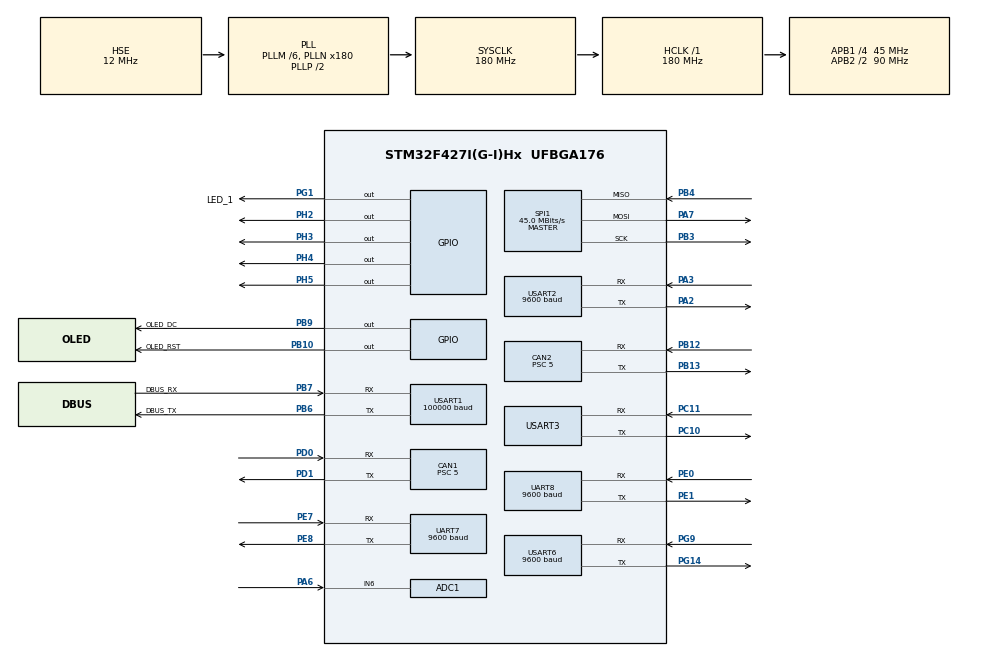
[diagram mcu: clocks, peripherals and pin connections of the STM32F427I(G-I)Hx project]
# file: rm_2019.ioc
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ADC1.Channel-0\#ChannelRegularConversion=ADC_CHANNEL_6
ADC1.ClockPrescaler=ADC_CLOCK_SYNC_PCLK_DIV8
ADC1.ContinuousConvMode=ENABLE
ADC1.DMAContinuousRequests=ENABLE
ADC1.DataAlign=ADC_DATAALIGN_RIGHT
ADC1.DiscontinuousConvMode=DISABLE
ADC1.EOCSelection=ADC_EOC_SINGLE_CONV
ADC1.EnableAnalogWatchDog=false
ADC1.ExternalTrigConv=ADC_SOFTWARE_START
ADC1.ExternalTrigConvEdge=ADC_EXTERNALTRIGCONVEDGE_NONE
ADC1.InjNumberOfConversion=0
ADC1.NbrOfConversion=1
ADC1.NbrOfConversionFlag=1
ADC1.Rank-0\#ChannelRegularConversion=1
ADC1.Resolution=ADC_RESOLUTION_12B
ADC1.SamplingTime-0\#ChannelRegularConversion=ADC_SAMPLETIME_56CYCLES
ADC1.ScanConvMode=DISABLE
ADC1.master=1
CAN1.ABOM=ENABLE
CAN1.BS1=CAN_BS1_3TQ
CAN1.BS2=CAN_BS2_5TQ
CAN1.CalculateTimeQuantum=111.11111111111111
CAN1.Prescaler=5
CAN2.ABOM=ENABLE
CAN2.BS1=CAN_BS1_3TQ
CAN2.BS2=CAN_BS2_5TQ
CAN2.CalculateTimeQuantum=111.11111111111111
CAN2.Prescaler=5
CAN2.SJW=CAN_SJW_4TQ
Dma.ADC1.6.Direction=DMA_PERIPH_TO_MEMORY
Dma.ADC1.6.FIFOMode=DMA_FIFOMODE_DISABLE
Dma.ADC1.6.Instance=DMA2_Stream0
Dma.ADC1.6.MemDataAlignment=DMA_MDATAALIGN_HALFWORD
Dma.ADC1.6.MemInc=DMA_MINC_ENABLE
Dma.ADC1.6.Mode=DMA_CIRCULAR
Dma.ADC1.6.PeriphDataAlignment=DMA_PDATAALIGN_HALFWORD
Dma.ADC1.6.PeriphInc=DMA_PINC_DISABLE
Dma.ADC1.6.Priority=DMA_PRIORITY_LOW
Dma.Request0=USART1_RX
Dma.Request1=USART3_RX
Dma.Request2=UART8_RX
Dma.Request3=USART6_RX
Dma.Request4=UART7_RX
Dma.Request5=USART2_RX
Dma.Request6=ADC1
Dma.UART7_RX.4.Direction=DMA_PERIPH_TO_MEMORY
Dma.UART7_RX.4.FIFOMode=DMA_FIFOMODE_DISABLE
Dma.UART7_RX.4.Instance=DMA1_Stream3
Dma.UART7_RX.4.MemDataAlignment=DMA_MDATAALIGN_BYTE
Dma.UART7_RX.4.MemInc=DMA_MINC_ENABLE
Dma.UART7_RX.4.Mode=DMA_NORMAL
Dma.UART7_RX.4.PeriphDataAlignment=DMA_PDATAALIGN_BYTE
Dma.UART7_RX.4.PeriphInc=DMA_PINC_DISABLE
Dma.UART7_RX.4.Priority=DMA_PRIORITY_LOW
Dma.UART8_RX.2.Direction=DMA_PERIPH_TO_MEMORY
Dma.UART8_RX.2.FIFOMode=DMA_FIFOMODE_DISABLE
Dma.UART8_RX.2.Instance=DMA1_Stream6
Dma.UART8_RX.2.MemDataAlignment=DMA_MDATAALIGN_BYTE
Dma.UART8_RX.2.MemInc=DMA_MINC_ENABLE
Dma.UART8_RX.2.Mode=DMA_NORMAL
Dma.UART8_RX.2.PeriphDataAlignment=DMA_PDATAALIGN_BYTE
Dma.UART8_RX.2.PeriphInc=DMA_PINC_DISABLE
Dma.UART8_RX.2.Priority=DMA_PRIORITY_LOW
Dma.USART1_RX.0.Direction=DMA_PERIPH_TO_MEMORY
Dma.USART1_RX.0.FIFOMode=DMA_FIFOMODE_DISABLE
Dma.USART1_RX.0.Instance=DMA2_Stream2
Dma.USART1_RX.0.MemDataAlignment=DMA_MDATAALIGN_BYTE
Dma.USART1_RX.0.MemInc=DMA_MINC_ENABLE
Dma.USART1_RX.0.Mode=DMA_NORMAL
Dma.USART1_RX.0.PeriphDataAlignment=DMA_PDATAALIGN_BYTE
Dma.USART1_RX.0.PeriphInc=DMA_PINC_DISABLE
Dma.USART1_RX.0.Priority=DMA_PRIORITY_LOW
Dma.USART2_RX.5.Direction=DMA_PERIPH_TO_MEMORY
Dma.USART2_RX.5.FIFOMode=DMA_FIFOMODE_DISABLE
Dma.USART2_RX.5.Instance=DMA1_Stream5
Dma.USART2_RX.5.MemDataAlignment=DMA_MDATAALIGN_BYTE
Dma.USART2_RX.5.MemInc=DMA_MINC_ENABLE
Dma.USART2_RX.5.Mode=DMA_NORMAL
Dma.USART2_RX.5.PeriphDataAlignment=DMA_PDATAALIGN_BYTE
Dma.USART2_RX.5.PeriphInc=DMA_PINC_DISABLE
Dma.USART2_RX.5.Priority=DMA_PRIORITY_LOW
Dma.USART3_RX.1.Direction=DMA_PERIPH_TO_MEMORY
Dma.USART3_RX.1.FIFOMode=DMA_FIFOMODE_DISABLE
Dma.USART3_RX.1.Instance=DMA1_Stream1
Dma.USART3_RX.1.MemDataAlignment=DMA_MDATAALIGN_BYTE
Dma.USART3_RX.1.MemInc=DMA_MINC_ENABLE
Dma.USART3_RX.1.Mode=DMA_NORMAL
Dma.USART3_RX.1.PeriphDataAlignment=DMA_PDATAALIGN_BYTE
Dma.USART3_RX.1.PeriphInc=DMA_PINC_DISABLE
Dma.USART3_RX.1.Priority=DMA_PRIORITY_LOW
Dma.USART6_RX.3.Direction=DMA_PERIPH_TO_MEMORY
Dma.USART6_RX.3.FIFOMode=DMA_FIFOMODE_DISABLE
Dma.USART6_RX.3.Instance=DMA2_Stream1
Dma.USART6_RX.3.MemDataAlignment=DMA_MDATAALIGN_BYTE
Dma.USART6_RX.3.MemInc=DMA_MINC_ENABLE
Dma.USART6_RX.3.Mode=DMA_NORMAL
Dma.USART6_RX.3.PeriphDataAlignment=DMA_PDATAALIGN_BYTE
Dma.USART6_RX.3.PeriphInc=DMA_PINC_DISABLE
Dma.USART6_RX.3.Priority=DMA_PRIORITY_LOW
FREERTOS.INCLUDE_vTaskDelayUntil=1
FREERTOS.Tasks01=defaultTask,0,128,StartDefaultTask,Default,NULL
FREERTOS.configUSE_TIMERS=1
Mcu.Family=STM32F4
Mcu.Name=STM32F427I(G-I)Hx
Mcu.Package=UFBGA176
NVIC.ADC_IRQn=true\:5\:0\:false\:false\:true\:true\:true
NVIC.CAN1_RX0_IRQn=true\:5\:0\:false\:false\:true\:true\:true
NVIC.CAN1_TX_IRQn=true\:5\:0\:false\:false\:true\:true\:true
NVIC.CAN2_RX0_IRQn=true\:5\:0\:false\:false\:true\:true\:true
NVIC.CAN2_RX1_IRQn=true\:5\:0\:false\:false\:true\:true\:true
NVIC.CAN2_TX_IRQn=true\:5\:0\:false\:false\:true\:true\:true
NVIC.DMA1_Stream1_IRQn=true\:5\:0\:false\:false\:true\:true\:false
NVIC.DMA1_Stream3_IRQn=true\:5\:0\:false\:false\:true\:true\:false
NVIC.DMA1_Stream5_IRQn=true\:5\:0\:false\:false\:true\:true\:false
NVIC.DMA1_Stream6_IRQn=true\:5\:0\:false\:false\:true\:true\:false
NVIC.DMA2_Stream0_IRQn=true\:5\:0\:false\:false\:true\:true\:false
NVIC.DMA2_Stream1_IRQn=true\:5\:0\:false\:false\:true\:true\:false
NVIC.DMA2_Stream2_IRQn=true\:5\:0\:false\:false\:true\:true\:false
NVIC.PriorityGroup=NVIC_PRIORITYGROUP_4
NVIC.TIM1_UP_TIM10_IRQn=true\:0\:0\:false\:false\:true\:false\:false
NVIC.TimeBase=TIM1_UP_TIM10_IRQn
NVIC.TimeBaseIP=TIM10
NVIC.UART7_IRQn=true\:5\:0\:false\:false\:true\:true\:true
NVIC.UART8_IRQn=true\:5\:0\:false\:false\:true\:true\:true
NVIC.USART1_IRQn=true\:5\:0\:false\:false\:true\:true\:true
NVIC.USART2_IRQn=true\:5\:0\:false\:false\:true\:true\:true
NVIC.USART3_IRQn=true\:5\:0\:false\:false\:true\:true\:true
NVIC.USART6_IRQn=true\:5\:0\:false\:false\:true\:true\:true
PA13.Mode=Serial_Wire
PA13.Signal=SYS_JTMS-SWDIO
PA14.Mode=Serial_Wire
PA14.Signal=SYS_JTCK-SWCLK
PA2.Mode=Asynchronous
PA2.Signal=USART2_TX
PA3.Mode=Asynchronous
PA3.Signal=USART2_RX
PA6.Signal=ADCx_IN6
PA7.Mode=Full_Duplex_Master
PA7.Signal=SPI1_MOSI
PB10.GPIO_Label=OLED_RST
PB10.Signal=GPIO_Output
PB12.Mode=Slave
PB12.Signal=CAN2_RX
PB13.Mode=Slave
PB13.Signal=CAN2_TX
PB3.Mode=Full_Duplex_Master
PB3.Signal=SPI1_SCK
PB4.Mode=Full_Duplex_Master
PB4.Signal=SPI1_MISO
PB6.GPIO_Label=DBUS_TX
PB6.Mode=Asynchronous
PB6.Signal=USART1_TX
PB7.GPIO_Label=DBUS_RX
PB7.Mode=Asynchronous
PB7.Signal=USART1_RX
PB9.GPIO_Label=OLED_DC
PB9.Signal=GPIO_Output
PC10.Mode=Asynchronous
PC10.Signal=USART3_TX
PC11.Mode=Asynchronous
PC11.Signal=USART3_RX
PD0.Mode=Master
PD0.Signal=CAN1_RX
PD1.Mode=Master
PD1.Signal=CAN1_TX
PE0.Mode=Asynchronous
PE0.Signal=UART8_RX
PE1.Mode=Asynchronous
PE1.Signal=UART8_TX
PE7.Mode=Asynchronous
PE7.Signal=UART7_RX
PE8.Mode=Asynchronous
PE8.Signal=UART7_TX
PG1.GPIO_Label=LED_1
PG1.GPIO_Speed=GPIO_SPEED_FREQ_VERY_HIGH
PG1.PinState=GPIO_PIN_SET
PG1.Signal=GPIO_Output
PG14.Mode=Asynchronous
PG14.Signal=USART6_TX
PG9.Mode=Asynchronous
PG9.Signal=USART6_RX
PH0/OSC_IN.Mode=HSE-External-Oscillator
PH0/OSC_IN.Signal=RCC_OSC_IN
PH1/OSC_OUT.Mode=HSE-External-Oscillator
PH1/OSC_OUT.Signal=RCC_OSC_OUT
PH2.Signal=GPIO_Output
PH3.Signal=GPIO_Output
PH4.Signal=GPIO_Output
PH5.Signal=GPIO_Output
ProjectManager.HeapSize=0x200
ProjectManager.StackSize=0x400
ProjectManager.TargetToolchain=MDK-ARM V5
RCC.48MHZClocksFreq_Value=90000000
RCC.AHBFreq_Value=180000000
RCC.APB1CLKDivider=RCC_HCLK_DIV4
RCC.APB1Freq_Value=45000000
RCC.APB1TimFreq_Value=90000000
RCC.APB2CLKDivider=RCC_HCLK_DIV2
RCC.APB2Freq_Value=90000000
RCC.APB2TimFreq_Value=180000000
RCC.CortexFreq_Value=180000000
RCC.HCLKFreq_Value=180000000
RCC.HSE_VALUE=12000000
RCC.HSI_VALUE=16000000
RCC.LSE_VALUE=32768
RCC.PLLM=6
RCC.PLLN=180
RCC.PLLSourceVirtual=RCC_PLLSOURCE_HSE
RCC.SYSCLKFreq_VALUE=180000000
RCC.SYSCLKSource=RCC_SYSCLKSOURCE_PLLCLK
RCC.VCOOutputFreq_Value=360000000
SH.ADCx_IN6.0=ADC1_IN6,IN6
SPI1.CalculateBaudRate=45.0 MBits/s
SPI1.Direction=SPI_DIRECTION_2LINES
SPI1.Mode=SPI_MODE_MASTER
SPI1.VirtualType=VM_MASTER
UART7.BaudRate=9600
UART7.VirtualMode=Asynchronous
UART8.BaudRate=9600
UART8.VirtualMode=Asynchronous
USART1.BaudRate=100000
USART1.VirtualMode=VM_ASYNC
USART2.BaudRate=9600
USART2.VirtualMode=VM_ASYNC
USART3.VirtualMode=VM_ASYNC
USART6.BaudRate=9600
USART6.VirtualMode=VM_ASYNC
VP_FREERTOS_VS_ENABLE.Mode=Enabled
VP_SYS_VS_tim10.Mode=TIM10
board=custom

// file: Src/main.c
/**
  ******************************************************************************
  * @file           : main.c
  * @brief          : Main program body
  ******************************************************************************
  * This notice applies to any and all portions of this file
  * that are not between comment pairs USER CODE BEGIN and
  * USER CODE END. Other portions of this file, whether
  * inserted by the user or by software development tools
  * are owned by their respective copyright owners.
  *
  * Copyright (c) 2019 STMicroelectronics International N.V.
  * All rights reserved.
  *
  * Redistribution and use in source and binary forms, with or without
  * modification, are permitted, provided that the following conditions are met:
  *
  * 1. Redistribution of source code must retain the above copyright notice,
  *    this list of conditions and the following disclaimer.
  * 2. Redistributions in binary form must reproduce the above copyright notice,
  *    this list of conditions and the following disclaimer in the documentation
  *    and/or other materials provided with the distribution.
  * 3. Neither the name of STMicroelectronics nor the names of other
  *    contributors to this software may be used to endorse or promote products
  *    derived from this software without specific written permission.
  * 4. This software, including modifications and/or derivative works of this
  *    software, must execute solely and exclusively on microcontroller or
  *    microprocessor devices manufactured by or for STMicroelectronics.
  * 5. Redistribution and use of this software other than as permitted under
  *    this license is void and will automatically terminate your rights under
  *    this license.
  *
  * THIS SOFTWARE IS PROVIDED BY STMICROELECTRONICS AND CONTRIBUTORS "AS IS"
  * AND ANY EXPRESS, IMPLIED OR STATUTORY WARRANTIES, INCLUDING, BUT NOT
  * LIMITED TO, THE IMPLIED WARRANTIES OF MERCHANTABILITY, FITNESS FOR A
  * PARTICULAR PURPOSE AND NON-INFRINGEMENT OF THIRD PARTY INTELLECTUAL PROPERTY
  * RIGHTS ARE DISCLAIMED TO THE FULLEST EXTENT PERMITTED BY LAW. IN NO EVENT
  * SHALL STMICROELECTRONICS OR CONTRIBUTORS BE LIABLE FOR ANY DIRECT, INDIRECT,
  * INCIDENTAL, SPECIAL, EXEMPLARY, OR CONSEQUENTIAL DAMAGES (INCLUDING, BUT NOT
  * LIMITED TO, PROCUREMENT OF SUBSTITUTE GOODS OR SERVICES; LOSS OF USE, DATA,
  * OR PROFITS; OR BUSINESS INTERRUPTION) HOWEVER CAUSED AND ON ANY THEORY OF
  * LIABILITY, WHETHER IN CONTRACT, STRICT LIABILITY, OR TORT (INCLUDING
  * NEGLIGENCE OR OTHERWISE) ARISING IN ANY WAY OUT OF THE USE OF THIS SOFTWARE,
  * EVEN IF ADVISED OF THE POSSIBILITY OF SUCH DAMAGE.
  *
  ******************************************************************************
  */
#include "main.h"
#include "stm32f4xx_hal.h"
#include "cmsis_os.h"
#include "adc.h"
#include "can.h"
#include "dma.h"
#include "spi.h"
#include "usart.h"
#include "gpio.h"

/* USER CODE BEGIN Includes */
#include "bsp_can.h"
#include "bsp_uart.h"
#include "oled.h"
#include "chassis_task.h"
#include "manipulator_task.h"
#include "Task_1.h"
/* USER CODE END Includes */

/* USER CODE BEGIN PV */
/* Private variables ---------------------------------------------------------*/

/* USER CODE END PV */

void SystemClock_Config(void);
void MX_FREERTOS_Init(void);

/* USER CODE BEGIN PFP */
/* Private function prototypes -----------------------------------------------*/

/* USER CODE END PFP */

int main(void)
{

  /* MCU Configuration----------------------------------------------------------*/

  /* Reset of all peripherals, Initializes the Flash interface and the Systick. */
  HAL_Init();

  /* Configure the system clock */
  SystemClock_Config();

  /* Initialize all configured peripherals */
  MX_GPIO_Init();
  MX_DMA_Init();
  MX_CAN1_Init();
  MX_CAN2_Init();
  MX_USART1_UART_Init();
  MX_USART6_UART_Init();
  MX_UART8_Init();
  MX_USART3_UART_Init();
  MX_UART7_Init();
  MX_SPI1_Init();
  MX_USART2_UART_Init();
  MX_ADC1_Init();
  /* USER CODE BEGIN 2 */
	OLED_Init();
	//电调初始化
	HAL_Delay(2000);
	can_device_init();
	uart_init();
	chassis_init();
	manipulator_param_init();
	Task_1_param_init();

	HAL_GPIO_WritePin(GPIOH,GPIO_PIN_2,GPIO_PIN_SET);
  HAL_GPIO_WritePin(GPIOH,GPIO_PIN_3,GPIO_PIN_SET);
	HAL_GPIO_WritePin(GPIOH,GPIO_PIN_4,GPIO_PIN_SET);
	HAL_GPIO_WritePin(GPIOH,GPIO_PIN_5,GPIO_PIN_SET);
  /* USER CODE END 2 */

  /* Call init function for freertos objects (in freertos.c) */
  MX_FREERTOS_Init();

  /* Start scheduler */
  osKernelStart();

  /* We should never get here as control is now taken by the scheduler */

  /* Infinite loop */
  while (1)
  {

  }

}

void SystemClock_Config(void)
{

  RCC_OscInitTypeDef RCC_OscInitStruct;
  RCC_ClkInitTypeDef RCC_ClkInitStruct;

    /**Configure the main internal regulator output voltage
    */
  __HAL_RCC_PWR_CLK_ENABLE();

  __HAL_PWR_VOLTAGESCALING_CONFIG(PWR_REGULATOR_VOLTAGE_SCALE1);

    /**Initializes the CPU, AHB and APB busses clocks
    */
  RCC_OscInitStruct.OscillatorType = RCC_OSCILLATORTYPE_HSE;
  RCC_OscInitStruct.HSEState = RCC_HSE_ON;
  RCC_OscInitStruct.PLL.PLLState = RCC_PLL_ON;
  RCC_OscInitStruct.PLL.PLLSource = RCC_PLLSOURCE_HSE;
  RCC_OscInitStruct.PLL.PLLM = 6;
  RCC_OscInitStruct.PLL.PLLN = 180;
  RCC_OscInitStruct.PLL.PLLP = RCC_PLLP_DIV2;
  RCC_OscInitStruct.PLL.PLLQ = 4;
  if (HAL_RCC_OscConfig(&RCC_OscInitStruct) != HAL_OK)
  {
    _Error_Handler(__FILE__, __LINE__);
  }

    /**Activate the Over-Drive mode
    */
  if (HAL_PWREx_EnableOverDrive() != HAL_OK)
  {
    _Error_Handler(__FILE__, __LINE__);
  }

    /**Initializes the CPU, AHB and APB busses clocks
    */
  RCC_ClkInitStruct.ClockType = RCC_CLOCKTYPE_HCLK|RCC_CLOCKTYPE_SYSCLK
                              |RCC_CLOCKTYPE_PCLK1|RCC_CLOCKTYPE_PCLK2;
  RCC_ClkInitStruct.SYSCLKSource = RCC_SYSCLKSOURCE_PLLCLK;
  RCC_ClkInitStruct.AHBCLKDivider = RCC_SYSCLK_DIV1;
  RCC_ClkInitStruct.APB1CLKDivider = RCC_HCLK_DIV4;
  RCC_ClkInitStruct.APB2CLKDivider = RCC_HCLK_DIV2;

  if (HAL_RCC_ClockConfig(&RCC_ClkInitStruct, FLASH_LATENCY_5) != HAL_OK)
  {
    _Error_Handler(__FILE__, __LINE__);
  }

    /**Configure the Systick interrupt time
    */
  HAL_SYSTICK_Config(HAL_RCC_GetHCLKFreq()/1000);

    /**Configure the Systick
    */
  HAL_SYSTICK_CLKSourceConfig(SYSTICK_CLKSOURCE_HCLK);

  /* SysTick_IRQn interrupt configuration */
  HAL_NVIC_SetPriority(SysTick_IRQn, 15, 0);
}

void HAL_TIM_PeriodElapsedCallback(TIM_HandleTypeDef *htim)
{
  if (htim->Instance == TIM10) {
    HAL_IncTick();
  }
}

void _Error_Handler(char *file, int line)
{
  while(1)
  {
  }
}

/************************ (C) COPYRIGHT STMicroelectronics *****END OF FILE****/

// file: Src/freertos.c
/* USER CODE BEGIN Header */
/**
  ******************************************************************************
  * File Name          : freertos.c
  * Description        : Code for freertos applications
  ******************************************************************************
  * This notice applies to any and all portions of this file
  * that are not between comment pairs USER CODE BEGIN and
  * USER CODE END. Other portions of this file, whether
  * inserted by the user or by software development tools
  * are owned by their respective copyright owners.
  *
  * Copyright (c) 2018 STMicroelectronics International N.V.
  * All rights reserved.
  *
  * Redistribution and use in source and binary forms, with or without
  * modification, are permitted, provided that the following conditions are met:
  *
  * 1. Redistribution of source code must retain the above copyright notice,
  *    this list of conditions and the following disclaimer.
  * 2. Redistributions in binary form must reproduce the above copyright notice,
  *    this list of conditions and the following disclaimer in the documentation
  *    and/or other materials provided with the distribution.
  * 3. Neither the name of STMicroelectronics nor the names of other
  *    contributors to this software may be used to endorse or promote products
  *    derived from this software without specific written permission.
  * 4. This software, including modifications and/or derivative works of this
  *    software, must execute solely and exclusively on microcontroller or
  *    microprocessor devices manufactured by or for STMicroelectronics.
  * 5. Redistribution and use of this software other than as permitted under
  *    this license is void and will automatically terminate your rights under
  *    this license.
  *
  * THIS SOFTWARE IS PROVIDED BY STMICROELECTRONICS AND CONTRIBUTORS "AS IS"
  * AND ANY EXPRESS, IMPLIED OR STATUTORY WARRANTIES, INCLUDING, BUT NOT
  * LIMITED TO, THE IMPLIED WARRANTIES OF MERCHANTABILITY, FITNESS FOR A
  * PARTICULAR PURPOSE AND NON-INFRINGEMENT OF THIRD PARTY INTELLECTUAL PROPERTY
  * RIGHTS ARE DISCLAIMED TO THE FULLEST EXTENT PERMITTED BY LAW. IN NO EVENT
  * SHALL STMICROELECTRONICS OR CONTRIBUTORS BE LIABLE FOR ANY DIRECT, INDIRECT,
  * INCIDENTAL, SPECIAL, EXEMPLARY, OR CONSEQUENTIAL DAMAGES (INCLUDING, BUT NOT
  * LIMITED TO, PROCUREMENT OF SUBSTITUTE GOODS OR SERVICES; LOSS OF USE, DATA,
  * OR PROFITS; OR BUSINESS INTERRUPTION) HOWEVER CAUSED AND ON ANY THEORY OF
  * LIABILITY, WHETHER IN CONTRACT, STRICT LIABILITY, OR TORT (INCLUDING
  * NEGLIGENCE OR OTHERWISE) ARISING IN ANY WAY OUT OF THE USE OF THIS SOFTWARE,
  * EVEN IF ADVISED OF THE POSSIBILITY OF SUCH DAMAGE.
  *
  ******************************************************************************
  */
/* USER CODE END Header */

#include "FreeRTOS.h"
#include "task.h"
#include "main.h"
#include "cmsis_os.h"

/* USER CODE BEGIN Includes */
#include "comm_task.h"
#include "chassis_task.h"
#include "modeswitch_task.h"
#include "menu_interaction_task.h"
#include "manipulator_task.h"
#include "Task_1.h"
/* USER CODE END Includes */

/* USER CODE BEGIN Variables */
osThreadId can_msg_send_task_t;
osThreadId mode_sw_task_t;

osTimerId chassis_timer_id;
osTimerId manipulator_timer_id;
osTimerId menu_timer_id;
osTimerId task_1_timer_id;
/* USER CODE END Variables */
osThreadId defaultTaskHandle;

void StartDefaultTask(void const * argument);

void MX_FREERTOS_Init(void); /* (MISRA C 2004 rule 8.1) */

void MX_FREERTOS_Init(void) {

  /* USER CODE BEGIN RTOS_TIMERS */
  /* start timers, add new ones, ... */
		 taskENTER_CRITICAL();

   osTimerDef(chassisTimer, chassis_task);
  chassis_timer_id = osTimerCreate(osTimer(chassisTimer), osTimerPeriodic, NULL);

	   osTimerDef(manipulatorTimer,manipulator_task);
  manipulator_timer_id = osTimerCreate(osTimer(manipulatorTimer), osTimerPeriodic, NULL);

	 osTimerDef(menuTimer,menu_switch_task);
  menu_timer_id = osTimerCreate(osTimer(menuTimer), osTimerPeriodic, NULL);

	 osTimerDef(task_1_Timer,Task_No_1);
  task_1_timer_id = osTimerCreate(osTimer(task_1_Timer), osTimerPeriodic, NULL);

  /* USER CODE END RTOS_TIMERS */

  /* Create the thread(s) */
  /* definition and creation of defaultTask */
  osThreadDef(defaultTask, StartDefaultTask, osPriorityNormal, 0, 128);
  defaultTaskHandle = osThreadCreate(osThread(defaultTask), NULL);

  /* USER CODE BEGIN RTOS_THREADS */
  /* add threads, ... */

		 /* high priority task */

	 osThreadDef(canTask, can_msg_send_task, osPriorityAboveNormal, 0, 512);
  can_msg_send_task_t = osThreadCreate(osThread(canTask), NULL);

	 	 /* low priority task */

	 osThreadDef(modeTask, mode_switch_task, osPriorityNormal, 0, 512);
	mode_sw_task_t = osThreadCreate(osThread(modeTask), NULL);

	 		taskEXIT_CRITICAL();

  /* USER CODE END RTOS_THREADS */

}

void StartDefaultTask(void const * argument)
{

  for(;;)
  {
    osDelay(1);
  }
}

/************************ (C) COPYRIGHT STMicroelectronics *****END OF FILE****/
